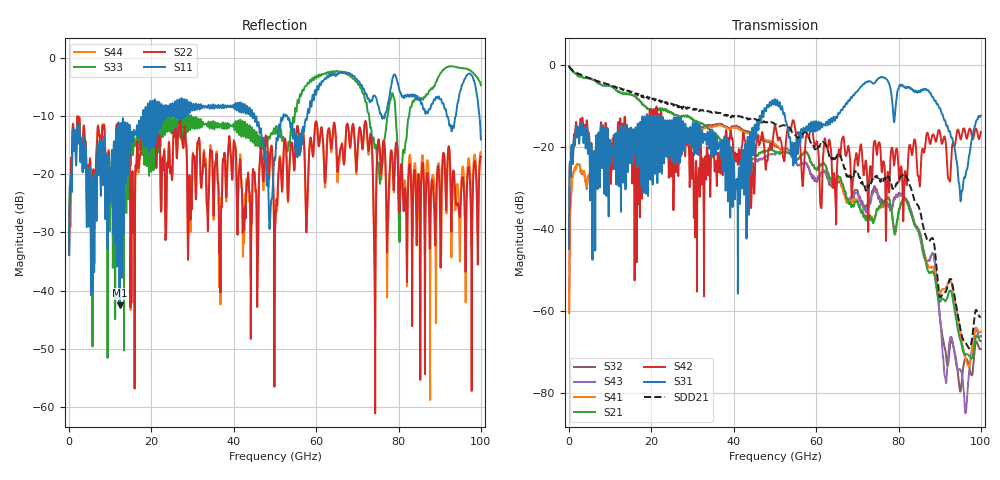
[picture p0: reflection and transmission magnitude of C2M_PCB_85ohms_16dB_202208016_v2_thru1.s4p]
! Info: Touchstone file created by Circ.  Input file=Intel_C2M_200G_5p0in_202208016_staggered.circ
# Hz S RI R 50
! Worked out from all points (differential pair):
!   10000 points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, 10 MHz to 100 GHz, reference 50 ohm
!   strongest paths, dB at 10 MHz, 25.01 GHz, 50.01 GHz, 75.01 GHz, 100 GHz:
!     S31: -44.9, -14.7, -8.3, -3.2, -12.3
!     S42: -44.9, -18.6, -14.7, -19.6, -16.3
!     S21: -0.2, -11.8, -21.3, -35.3, -67.4
!     S41: -60.5, -17.3, -19.3, -35.2, -65.1
!     S43: -0.2, -11.7, -21.9, -32.4, -66.1
!     S32: -60.5, -16.8, -19.7, -31.8, -69.3
!   taken as a pair (ports 1,3 in; 2,4 out), SDD21 dB: -0.2, -9.4, -14.5, -28.0, -61.4
!   lowest |S11| = -42.5 dB at 12.25 GHz (marker M1), VSWR 1.02, Z = 50.2 - j0.717 ohm
!   |S11| at or under -10 dB: start of sweep to 17.96 GHz; 45.03 GHz to 51.98 GHz (6.948 GHz wide, 14.3 % of centre); 53 GHz to 57.82 GHz (4.821 GHz wide, 8.7 % of centre)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
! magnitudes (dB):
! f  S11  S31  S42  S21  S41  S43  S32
! 10 MHz  -33.8  -44.9  -44.9  -0.2  -60.5  -0.2  -60.5
! 1.43 GHz  -12.5  -19.3  -16.8  -1.9  -24.8  -2.0  -24.8
! 12.25 GHz  -42.5  -16.3  -14.9  -6.4  -17.0  -6.4  -17.0
! 80.89 GHz  -6.7  -4.7  -27.5  -33.1  -33.3  -32.0  -31.7
! 91.37 GHz  -8.8  -13.6  -18.1  -57.7  -54.6  -76.4  -69.6
! 95.22 GHz  -5.1  -31.7  -17.8  -67.8  -66.3  -74.8  -78.6
! 100 GHz  -14.0  -12.3  -16.3  -67.4  -65.1  -66.1  -69.3
